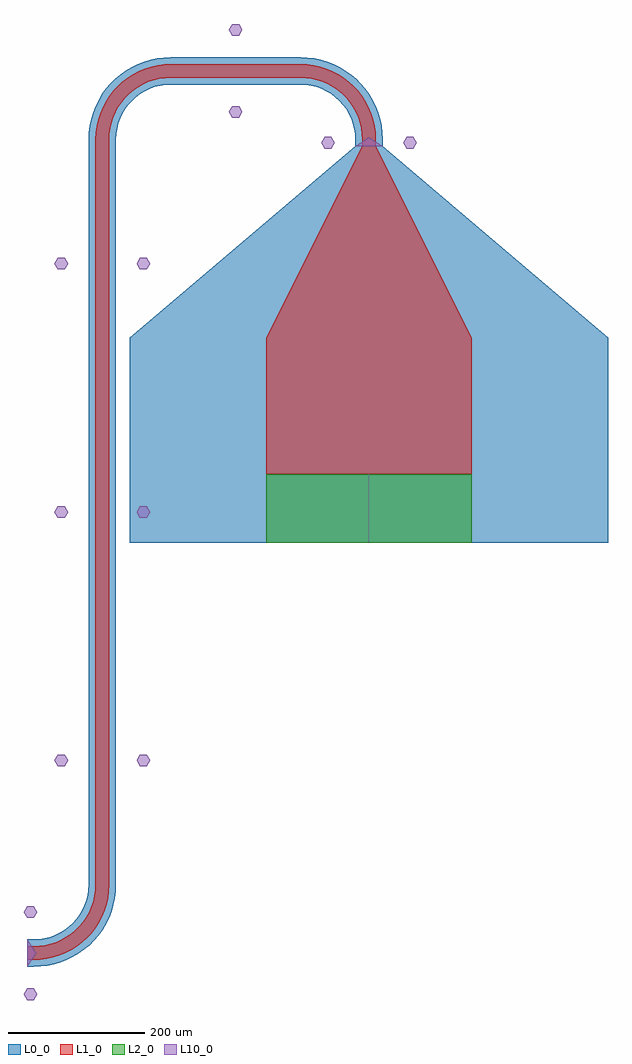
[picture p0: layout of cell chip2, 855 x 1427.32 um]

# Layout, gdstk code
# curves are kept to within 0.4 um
import gdstk
lib = gdstk.Library(unit=1e-6, precision=1e-09)
def R(c, l, rs):  # rectangles x0, y0, x1, y1
    for r in rs: c.add(gdstk.rectangle(r[:2], r[2:], *l))
def P(c, l, *ps):  # polygons
    for p in ps: c.add(gdstk.Polygon(p, *l))
L0_0 = (0, 0)
L1_0 = (1, 0)
L2_0 = (2, 0)
L10_0 = (10, 0)

chip2 = lib.new_cell('chip2')
P(chip2, L0_0, [(150,600),(150,900),(480,1180),(520,1180),(850,900),(850,600)],
  [(480,1180),(520,1180),(519.59,1199.91),(518.363,1209.751),(516.328,1219.458),(513.498,1228.964),(509.893,1238.203),(505.537,1247.114),(500.46,1255.634),(494.697,1263.706),(488.287,1271.274),(481.274,1278.287),(473.706,1284.697),(465.634,1290.46),(457.114,1295.537),(448.203,1299.893),(438.964,1303.498),(429.458,1306.328),(419.751,1308.363),(409.91,1309.59),(400,1310),(210,1310),(200.09,1309.59),(190.249,1308.363),(180.542,1306.328),(171.036,1303.498),(161.797,1299.893),(152.886,1295.537),(144.366,1290.46),(136.294,1284.697),(128.726,1278.287),(121.713,1271.274),(115.303,1263.706),(109.54,1255.634),(104.463,1247.114),(100.107,1238.203),(96.502,1228.964),(93.672,1219.458),(91.637,1209.751),(90.41,1199.91),(90,1190),(89.615,92.159),(86.555,76.777),(80.554,62.288),(71.841,49.249),(60.751,38.159),(47.712,29.446),(33.223,23.445),(17.841,20.385),(0,20),(0,-20),(19.91,-19.59),(29.751,-18.363),(39.458,-16.328),(48.964,-13.498),(58.203,-9.893),(67.114,-5.537),(75.634,-0.46),(83.706,5.303),(91.274,11.713),(98.287,18.726),(104.697,26.294),(110.46,34.366),(115.537,42.886),(119.893,51.797),(123.498,61.036),(126.328,70.542),(128.363,80.249),(129.59,90.09),(130,100),(130,1190),(131.537,1205.607),(136.09,1220.615),(143.482,1234.446),(153.431,1246.569),(159.249,1251.841),(172.288,1260.554),(186.777,1266.555),(194.393,1268.463),(210,1270),(407.841,1269.615),(423.223,1266.555),(437.712,1260.554),(450.751,1251.841),(461.841,1240.751),(470.554,1227.712),(476.555,1213.223),(479.615,1197.841)])
P(chip2, L1_0, [(350,700),(350,900),(490,1180),(510,1180),(650,900),(650,700)],
  [(490,1180),(510,1180),(509.581,1199.587),(508.329,1209.101),(506.252,1218.47),(503.366,1227.622),(499.694,1236.488),(495.263,1245),(490.107,1253.093),(484.265,1260.707),(477.782,1267.782),(470.707,1274.265),(463.093,1280.107),(455,1285.263),(446.488,1289.694),(437.622,1293.366),(428.47,1296.252),(419.101,1298.329),(409.587,1299.581),(210,1300),(200.413,1299.581),(190.899,1298.329),(181.53,1296.252),(172.378,1293.366),(163.512,1289.694),(155,1285.263),(146.907,1280.107),(139.293,1274.265),(132.218,1267.782),(125.735,1260.707),(119.893,1253.093),(114.737,1245),(110.306,1236.488),(106.634,1227.622),(103.748,1218.47),(101.671,1209.101),(100.419,1199.587),(100,1190),(99.616,91.696),(98.468,83.463),(93.923,67.488),(86.52,52.621),(76.511,39.367),(70.633,33.489),(57.379,23.48),(42.512,16.077),(26.537,11.532),(18.304,10.384),(0,10),(0,-10),(19.587,-9.581),(29.101,-8.329),(38.47,-6.252),(47.622,-3.366),(56.488,0.306),(65,4.737),(73.093,9.893),(80.707,15.735),(87.782,22.218),(94.265,29.293),(100.107,36.907),(105.263,45),(109.694,53.512),(113.366,62.378),(116.252,71.53),(118.329,80.899),(119.581,90.413),(120,100),(120,1190),(121.532,1206.537),(126.077,1222.512),(133.48,1237.379),(143.489,1250.633),(149.367,1256.511),(162.621,1266.52),(169.884,1270.565),(177.488,1273.923),(193.463,1278.468),(210,1280),(408.304,1279.616),(416.537,1278.468),(432.512,1273.923),(447.379,1266.52),(460.633,1256.511),(471.822,1244.237),(480.565,1230.116),(486.564,1214.63),(489.616,1198.304)])
R(chip2, L2_0, [(350,600,650,700)])
P(chip2, L10_0, [(0,10),(6.667,0),(0,-10)],
  [(0,20),(13.333,0),(0,-20)],
  [(490,1180),(500,1186.667),(510,1180)],
  [(480,1180),(500,1193.333),(520,1180)],
  [(450,1185),(445,1193.66),(435,1193.66),(430,1185),(435,1176.34),(445,1176.34)],
  [(570,1185),(565,1193.66),(555,1193.66),(550,1185),(555,1176.34),(565,1176.34)],
  [(315,1230),(310,1238.66),(300,1238.66),(295,1230),(300,1221.34),(310,1221.34)],
  [(315,1350),(310,1358.66),(300,1358.66),(295,1350),(300,1341.34),(310,1341.34)],
  [(180,1008.333),(175,1016.994),(165,1016.994),(160,1008.333),(165,999.673),(175,999.673)],
  [(60,1008.333),(55,1016.994),(45,1016.994),(40,1008.333),(45,999.673),(55,999.673)],
  [(180,645),(175,653.66),(165,653.66),(160,645),(165,636.34),(175,636.34)],
  [(60,645),(55,653.66),(45,653.66),(40,645),(45,636.34),(55,636.34)],
  [(180,281.667),(175,290.327),(165,290.327),(160,281.667),(165,273.006),(175,273.006)],
  [(60,281.667),(55,290.327),(45,290.327),(40,281.667),(45,273.006),(55,273.006)],
  [(15,-60),(10,-51.34),(0,-51.34),(-5,-60),(0,-68.66),(10,-68.66)],
  [(15,60),(10,68.66),(0,68.66),(-5,60),(0,51.34),(10,51.34)],
  [(500,600),(500,600),(500,700),(500,700)])

lib.write_gds('chip2.gds')
